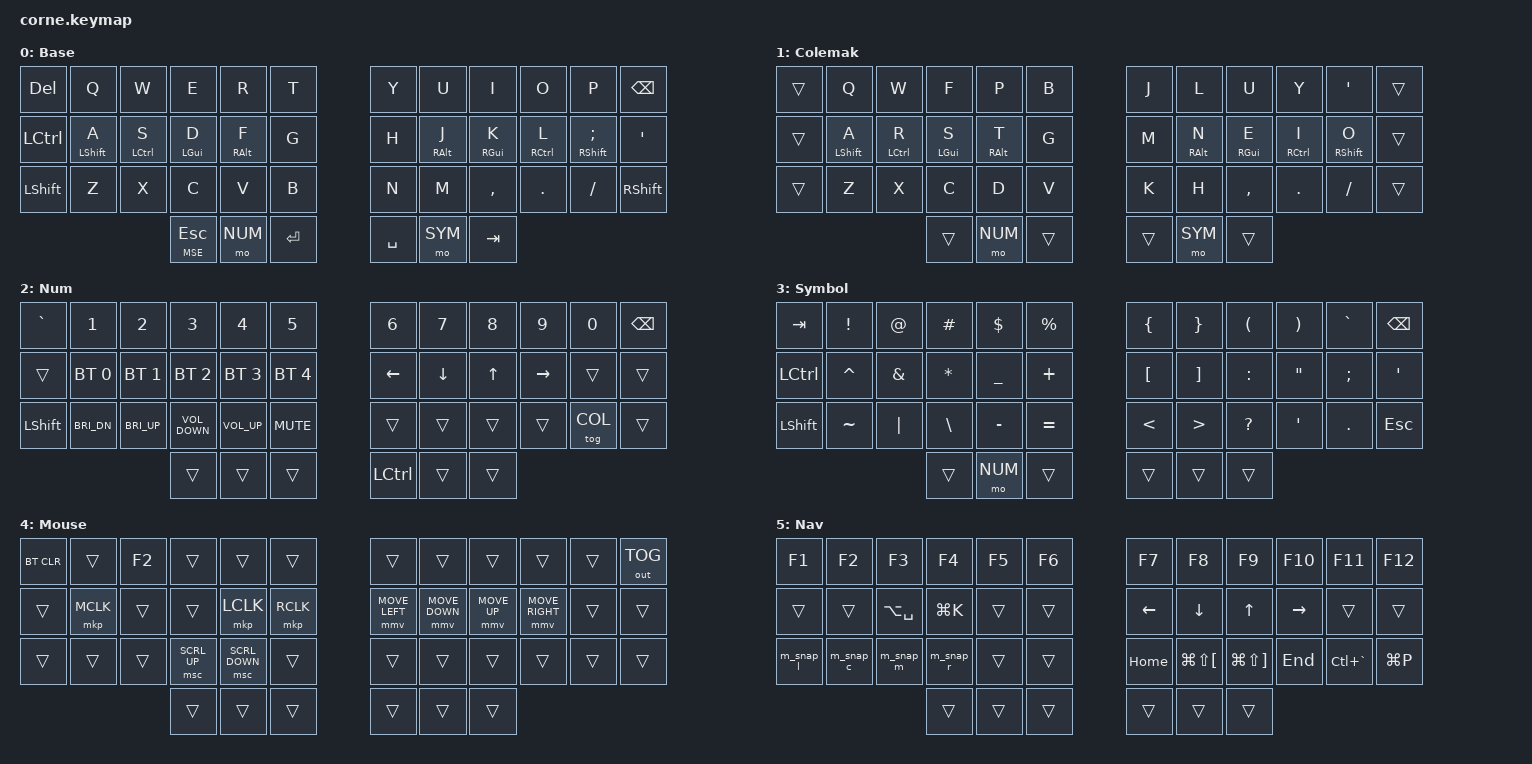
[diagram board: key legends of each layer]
/*
 * Copyright (c) 2020 The ZMK Contributors
 *
 * SPDX-License-Identifier: MIT
 */

#include <behaviors.dtsi>
#include <dt-bindings/zmk/bt.h>
#include <dt-bindings/zmk/keys.h>
#include <dt-bindings/zmk/outputs.h>
#include <dt-bindings/zmk/pointing.h>

#define BASE 0
#define COL  1
#define NUM  2
#define SYM  3
#define MSE  4
#define NAV  5

#define ZMK_POINTING_DEFAULT_MOVE_VAL 1400

&mmv { time-to-max-speed-ms = <450>; };

&msc { acceleration-exponent = <1>; };

/ {
    combos {
        compatible = "zmk,combos";

        combo_esc {
            timeout-ms = <50>;
            key-positions = <19 20>;
            bindings = <&kp ESC>;
        };

        combo_semi {
            timeout-ms = <50>;
            key-positions = <20 21>;
            bindings = <&kp SEMI>;
        };

        combo_arrow {
            timeout-ms = <50>;
            key-positions = <15 16>;
            bindings = <&m_arrow>;
        };

        combo_interp {
            timeout-ms = <50>;
            key-positions = <14 15>;
            bindings = <&m_interp>;
        };

        combo_strict {
            timeout-ms = <50>;
            key-positions = <16 17>;
            bindings = <&m_strict>;
        };

        combo_screenshot {
            timeout-ms = <50>;
            key-positions = <8 9>;
            bindings = <&m_screenshot>;
        };

        combo_reset {
            timeout-ms = <50>;
            key-positions = <0 10 11>;
            bindings = <&sys_reset>;
        };

        combo_bootloader {
            timeout-ms = <50>;
            key-positions = <0 12 11>;
            bindings = <&bootloader>;
        };
    };

    conditional_layers {
        compatible = "zmk,conditional-layers";
        tri_layer {
            if-layers = <NUM SYM>;
            then-layer = <NAV>;
        };
    };

    macros {
        m_arrow: m_arrow {
            compatible = "zmk,behavior-macro";
            #binding-cells = <0>;
            bindings = <&kp EQUAL &kp GREATER_THAN>;
            label = "M_ARROW";
        };

        m_interp: m_interp {
            compatible = "zmk,behavior-macro";
            #binding-cells = <0>;
            bindings = <&kp DOLLAR &kp LBRC &kp RBRC &kp LEFT>;
            label = "M_INTERP";
        };

        m_strict: m_strict {
            compatible = "zmk,behavior-macro";
            #binding-cells = <0>;
            bindings = <&kp EXCL &kp EQUAL &kp EQUAL>;
            label = "M_STRICT";
        };

        m_snap_l: m_snap_l {
            compatible = "zmk,behavior-macro";
            #binding-cells = <0>;
            bindings = <&kp LG(LA(LEFT))>;
            label = "M_SNAP_L";
        };

        m_snap_r: m_snap_r {
            compatible = "zmk,behavior-macro";
            #binding-cells = <0>;
            bindings = <&kp LG(LA(RIGHT))>;
            label = "M_SNAP_R";
        };

        m_snap_m: m_snap_m {
            compatible = "zmk,behavior-macro";
            #binding-cells = <0>;
            bindings = <&kp LG(LA(F))>;
            label = "M_SNAP_M";
        };

        m_snap_c: m_snap_c {
            compatible = "zmk,behavior-macro";
            #binding-cells = <0>;
            bindings = <&kp LG(LA(C))>;
            label = "M_SNAP_C";
        };

        m_screenshot: m_screenshot {
            compatible = "zmk,behavior-macro";
            #binding-cells = <0>;
            bindings = <&kp LG(LC(LS(N4)))>;
            label = "M_SCREENSHOT";
        };
    };

    behaviors {
        mode_tap_left: mode_tap_left {
            compatible = "zmk,behavior-hold-tap";
            label = "MODE_TAP_LEFT";
            bindings = <&kp>, <&kp>;

            #binding-cells = <2>;
            tapping-term-ms = <175>;
            flavor = "tap-preferred";
            require-prior-idle-ms = <125>;
            quick-tap-ms = <0>;
            hold-trigger-key-positions = <6 7 8 9 10 11 18 19 20 21 22 23 30 31 32 33 34 35 39 40 41>;
        };

        enable_mouse: enable_mouse {
            compatible = "zmk,behavior-mouse-key-press";
            label = "ENABLE_MOUSE";
            #binding-cells = <1>;
        };

        mode_tap_right: mode_tap_right {
            compatible = "zmk,behavior-hold-tap";
            label = "MODE_TAP_RIGHT";
            bindings = <&kp>, <&kp>;

            #binding-cells = <2>;
            tapping-term-ms = <175>;
            flavor = "tap-preferred";
            require-prior-idle-ms = <125>;
            quick-tap-ms = <0>;
            hold-trigger-key-positions = <0 1 2 3 4 5 12 13 14 15 16 17 24 25 26 27 28 29 36 37 38>;
        };
    };

    keymap {
        compatible = "zmk,keymap";

        BASE {
            display-name = "Base";

            // -----------------------------------------------------------------------------------------
            // |  DEL |  Q  |  W  |  E  |  R  |  T  |   |  Y  |  U   |  I  |  O  |  P  | BSPC |
            // | CTRL |  A  |  S  |  D  |  F  |  G  |   |  H  |  J   |  K  |  L  |  ;  |  '   |
            // | SHFT |  Z  |  X  |  C  |  V  |  B  |   |  N  |  M   |  ,  |  .  |  /  | ESC  |
            //                    | MSE | NUM | ENT |   | SPC | SYM  | TAB |

            bindings = <
&kp DEL    &kp Q                        &kp W                          &kp E                      &kp R                       &kp T        &kp Y      &kp U                        &kp I                        &kp O                            &kp P                                  &kp BSPC
&kp LCTRL  &mode_tap_left LEFT_SHIFT A  &mode_tap_left LEFT_CONTROL S  &mode_tap_left LEFT_GUI D  &mode_tap_left RIGHT_ALT F  &kp G        &kp H      &mode_tap_right RIGHT_ALT J  &mode_tap_right RIGHT_GUI K  &mode_tap_right RIGHT_CONTROL L  &mode_tap_right RIGHT_SHIFT SEMICOLON  &kp SQT
&kp LSHFT  &kp Z                        &kp X                          &kp C                      &kp V                       &kp B        &kp N      &kp M                        &kp COMMA                    &kp DOT                          &kp FSLH                               &kp RIGHT_SHIFT
                                                                       &lt MSE ESCAPE             &mo NUM                     &kp ENTER    &kp SPACE  &mo SYM                      &kp TAB
            >;
        };

        COL {
            display-name = "Colemak";

            // -----------------------------------------------------------------------------------------
            // | TRAN |  Q  |  W  |  F  |  P  |  B  |   |  J  |  L  |  U  |  Y  |  '  | TRAN |
            // | TRAN |SFT/A|CTL/R|GUI/S|ALT/T|  G  |   |  M  |ALT/N|GUI/E|CTL/I|SFT/O| TRAN |
            // | TRAN |  Z  |  X  |  C  |  D  |  V  |   |  K  |  H  |  ,  |  .  |  /  | TRAN |
            //                    | TRAN| NUM | TRAN|   | TRAN| SYM | TRAN|

            bindings = <
&trans  &kp Q  &kp W  &kp F   &kp P  &kp B     &kp J   &kp L  &kp U      &kp Y       &kp SQT    &trans
&trans  &mode_tap_left LEFT_SHIFT A  &mode_tap_left LEFT_CONTROL R  &mode_tap_left LEFT_GUI S  &mode_tap_left RIGHT_ALT T  &kp G     &kp M   &mode_tap_right RIGHT_ALT N  &mode_tap_right RIGHT_GUI E  &mode_tap_right RIGHT_CONTROL I  &mode_tap_right RIGHT_SHIFT O  &trans
&trans  &kp Z  &kp X  &kp C   &kp D  &kp V     &kp K   &kp H  &kp COMMA  &kp PERIOD  &kp SLASH  &trans
                      &trans  &mo NUM  &trans    &trans  &mo SYM  &trans
            >;
        };

        NUM {
            display-name = "Num";

            // -----------------------------------------------------------------------------------------
            // |  TAB |  1  |  2  |  3  |  4  |  5  |   |  6  |  7  |  8  |  9  |  0  | BSPC |
            // | BTCLR| BT1 | BT2 | BT3 | BT4 | BT5 |   | LFT | DWN |  UP | RGT |     |      |
            // | SHFT |     |     |     |     |     |   |     |     |     |     | TOG |      |
            //                    | GUI |     | SPC |   | ENT |     | ALT |

            bindings = <
&kp GRAVE  &kp N1        &kp N2        &kp N3             &kp N4        &kp N5          &kp N6            &kp N7    &kp N8  &kp N9     &kp N0  &kp BSPC
&trans     &bt BT_SEL 0  &bt BT_SEL 1  &bt BT_SEL 2       &bt BT_SEL 3  &bt BT_SEL 4    &kp LEFT          &kp DOWN  &kp UP  &kp RIGHT  &trans  &trans
&kp LSHFT  &kp C_BRI_DN  &kp C_BRI_UP  &kp C_VOLUME_DOWN  &kp C_VOL_UP  &kp K_MUTE      &trans            &trans    &trans  &trans     &tog COL &trans
                                       &trans             &trans        &trans          &kp LEFT_CONTROL  &trans    &trans
            >;
        };

        SYM {
            display-name = "Symbol";

            // -----------------------------------------------------------------------------------------
            // |  TAB |  !  |  @  |  #  |  $  |  %  |   |  {  |  }  |  (  |  )  |  `  | BSPC |
            // | CTRL |  ^  |  &  |  *  |  _  |  +  |   |  [  |  ]  |  :  |  "  |  ;  |  '   |
            // | SHFT |  ~  |  |  |  \  |  -  |  =  |   |  <  |  >  |  ?  |  '  |  .  | ESC  |
            //                    | GUI | NUM | ENT |   | SPC | SYM  | TAB |

            bindings = <
&kp TAB    &kp EXCL   &kp AT_SIGN    &kp HASH       &kp DOLLAR      &kp PERCENT    &kp LBRC          &kp RBRC           &kp LPAR      &kp RPAR           &kp GRAVE  &kp BSPC
&kp LCTRL  &kp CARET  &kp AMPERSAND  &kp ASTERISK   &kp UNDERSCORE  &kp PLUS       &kp LEFT_BRACKET  &kp RIGHT_BRACKET  &kp COLON     &kp DOUBLE_QUOTES  &kp SEMI   &kp SQT
&kp LSHFT  &kp TILDE  &kp PIPE       &kp BSLH       &kp MINUS       &kp EQUAL      &kp LESS_THAN     &kp GREATER_THAN   &kp QUESTION  &kp SQT            &kp PERIOD &kp ESC
                                     &trans         &mo NUM         &trans         &trans            &trans             &trans
            >;
        };

        MSE {
            display-name = "Mouse";
            bindings = <
&bt BT_CLR  &trans     &kp F2  &trans        &trans          &trans       &trans          &trans          &trans        &trans           &trans  &out OUT_TOG
&trans  &mkp MCLK  &trans  &trans        &mkp LCLK       &mkp RCLK    &mmv MOVE_LEFT  &mmv MOVE_DOWN  &mmv MOVE_UP  &mmv MOVE_RIGHT  &trans  &trans
&trans  &trans     &trans  &msc SCRL_UP  &msc SCRL_DOWN  &trans       &trans          &trans          &trans        &trans           &trans  &trans
                           &trans        &trans          &trans       &trans          &trans          &trans
            >;
        };

        NAV {
            display-name = "Nav";
            bindings = <
&kp F1     &kp F2     &kp F3        &kp F4        &kp F5     &kp F6       &kp F7     &kp F8            &kp F9            &kp F10    &kp F11    &kp F12
&trans     &trans     &kp LA(SPACE) &kp LG(K)     &trans     &trans       &kp LEFT   &kp DOWN          &kp UP            &kp RIGHT  &trans     &trans
&m_snap_l  &m_snap_c  &m_snap_m     &m_snap_r     &trans     &trans       &kp HOME   &kp LG(LS(LBKT))  &kp LG(LS(RBKT))  &kp END    &kp LC(GRAVE) &kp LG(P)
                                    &trans        &trans     &trans       &trans     &trans            &trans
            >;
        };
    };
};
